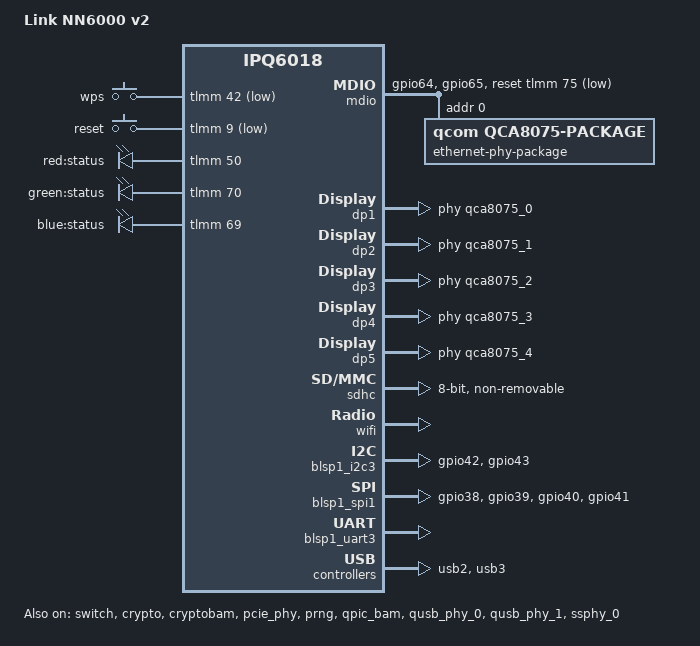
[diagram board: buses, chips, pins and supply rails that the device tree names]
// SPDX-License-Identifier: GPL-2.0-or-later OR MIT

/dts-v1/;

#include "ipq6018-512m.dtsi"
#include "ipq6018-ess.dtsi"
#include "ipq6018-nss.dtsi"

#include <dt-bindings/gpio/gpio.h>
#include <dt-bindings/input/input.h>
#include <dt-bindings/leds/common.h>

/ {
	model = "Link NN6000 v2";
	compatible = "link,nn6000-v2", "qcom,ipq6018";

	aliases {
		serial0 = &blsp1_uart3;
		sdhc1 = &sdhc;

		led-boot = &led_status_blue;
		led-failsafe = &led_status_red;
		led-running = &led_status_green;
		led-upgrade = &led_status_red;
		ethernet0 = &dp1;
		ethernet1 = &dp2;
		ethernet2 = &dp3;
		ethernet3 = &dp4;
		ethernet4 = &dp5;
	};
	keys {
		compatible = "gpio-keys";

		wps {
			label = "wps";
			linux,code = <KEY_WPS_BUTTON>;
			gpios = <&tlmm 42 GPIO_ACTIVE_LOW>;
		};

		reset {
			label = "reset";
			linux,code = <KEY_RESTART>;
			gpios = <&tlmm 9 GPIO_ACTIVE_LOW>;
		};
	};

	leds {
		compatible = "gpio-leds";

		led_status_red: status-red {
			label = "red:status";
			gpios = <&tlmm 50 GPIO_ACTIVE_HIGH>;
		};

		led_status_green: status-green {
			label = "green:status";
			gpios = <&tlmm 70 GPIO_ACTIVE_HIGH>;
		};

		led_status_blue: status-blue {
			label = "blue:status";
			gpios = <&tlmm 69 GPIO_ACTIVE_HIGH>;
		};
	};
};

&mdio {
	status = "okay";

	pinctrl-0 = <&mdio_pins>;
	pinctrl-names = "default";
	reset-gpios = <&tlmm 75 GPIO_ACTIVE_LOW>;

	ethernet-phy-package@0 {
		compatible = "qcom,qca8075-package";
		#address-cells = <1>;
		#size-cells = <0>;
		reg = <0>;

		qca8075_0: ethernet-phy@0 {
			compatible = "ethernet-phy-ieee802.3-c22";
			reg = <0>;
		};

		qca8075_1: ethernet-phy@1 {
			compatible = "ethernet-phy-ieee802.3-c22";
			reg = <1>;
		};

		qca8075_2: ethernet-phy@2 {
			compatible = "ethernet-phy-ieee802.3-c22";
			reg = <2>;
		};

		qca8075_3: ethernet-phy@3 {
			compatible = "ethernet-phy-ieee802.3-c22";
			reg = <3>;
		};

		qca8075_4: ethernet-phy@4 {
			compatible = "ethernet-phy-ieee802.3-c22";
			reg = <4>;
		};
	};
};

&switch {
	status = "okay";

	switch_lan_bmp = <(ESS_PORT1 | ESS_PORT3 | ESS_PORT4 | ESS_PORT5)>;
	switch_wan_bmp = <ESS_PORT2>;
	switch_mac_mode = <MAC_MODE_PSGMII>;

	qcom,port_phyinfo {
		port@1 {
			port_id = <1>;
			phy_address = <0>;
		};

		port@2 {
			port_id = <2>;
			phy_address = <1>;
		};

		port@3 {
			port_id = <3>;
			phy_address = <2>;
		};

		port@4 {
			port_id = <4>;
			phy_address = <3>;
		};

		port@5 {
			port_id = <5>;
			phy_address = <4>;
		};
	};
};

&dp1 {
	status = "okay";
	phy-handle = <&qca8075_0>;
	label = "lan1";
};

&dp2 {
	status = "okay";
	phy-handle = <&qca8075_1>;
	label = "wan";
};

&dp3 {
	status = "okay";
	phy-handle = <&qca8075_2>;
	label = "lan2";
};

&dp4 {
	status = "okay";
	phy-handle = <&qca8075_3>;
	label = "lan3";
};

&dp5 {
	status = "okay";
	phy-handle = <&qca8075_4>;
	label = "lan4";
};

&sdhc {
	status = "okay";
	bus-width = <8>;
	/delete-property/ mmc-hs400-1_8v;
	mmc-hs200-1_8v;
	mmc-ddr-1_8v;
	non-removable;
};

&wifi {
	status = "okay";
	qcom,ath11k-fw-memory-mode = <1>;
	qcom,ath11k-calibration-variant = "Link-NN6000";
};

&edma {
	status = "okay";
};

&tlmm {
	gpio-reserved-ranges = <20 1>;

	mdio_pins: mdio-pins {
		mdc {
			pins = "gpio64";
			function = "mdc";
			drive-strength = <8>;
			bias-pull-up;
		};

		mdio {
			pins = "gpio65";
			function = "mdio";
			drive-strength = <8>;
			bias-pull-up;
		};
	};

	i2c_1_pins: i2c-1-state {
		pins = "gpio42", "gpio43";
		function = "blsp2_i2c";
		drive-strength = <8>;
	};

	spi_0_pins: spi-0-state {
		pins = "gpio38", "gpio39", "gpio40", "gpio41";
		function = "blsp0_spi";
		drive-strength = <8>;
		bias-pull-down;
	};
};

&blsp1_i2c3 {
	status = "okay";
	pinctrl-0 = <&i2c_1_pins>;
	pinctrl-names = "default";
};

&blsp1_spi1 {
	status = "okay";
	pinctrl-0 = <&spi_0_pins>;
	pinctrl-names = "default";
};

&blsp1_uart3 {
	status = "okay";
	pinctrl-0 = <&serial_3_pins>;
	pinctrl-names = "default";
};

&rpm {
	status = "disabled";
};

&crypto {
	status = "okay";
};

&cryptobam {
	status = "okay";
};

&pcie_phy {
	status = "okay";
};

&prng {
	status = "okay";
};

&qpic_bam {
	status = "okay";
};

&qusb_phy_0 {
	status = "okay";
};

&qusb_phy_1 {
	status = "okay";
};

&ssphy_0 {
	status = "okay";
};

&usb2 {
	status = "okay";
};

&usb3 {
	status = "okay";
};
